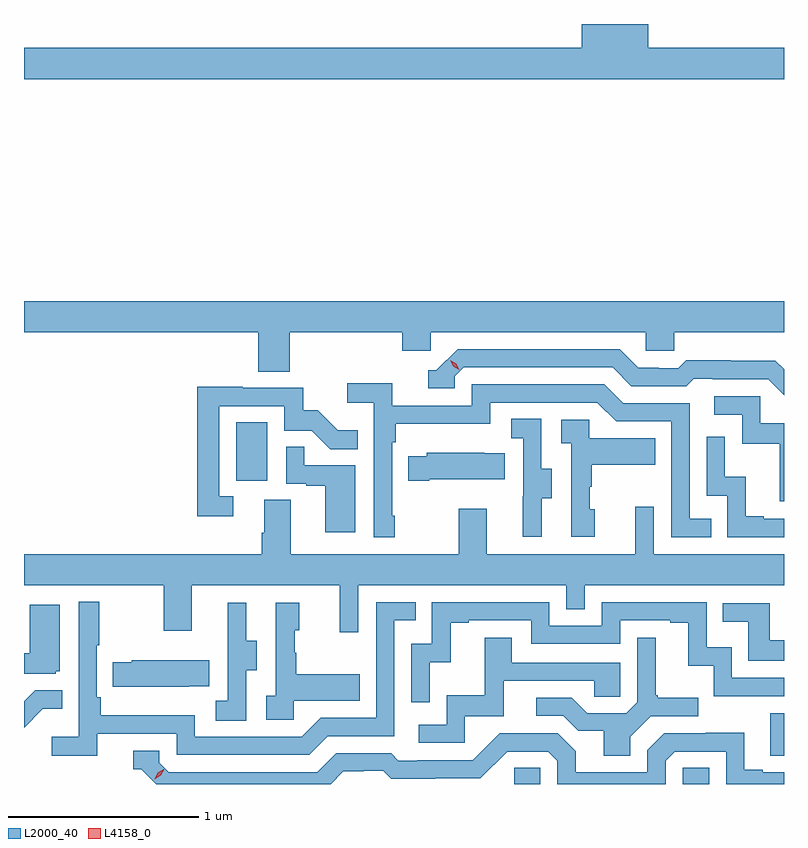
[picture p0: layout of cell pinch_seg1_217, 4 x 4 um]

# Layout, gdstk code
import gdstk
lib = gdstk.Library(unit=1e-6, precision=1e-09)
def R(c, l, rs):  # rectangles x0, y0, x1, y1
    for r in rs: c.add(gdstk.rectangle(r[:2], r[2:], *l))
def P(c, l, *ps):  # polygons
    for p in ps: c.add(gdstk.Polygon(p, *l))
L2000_40 = (2000, 40)
L4158_0 = (4158, 0)

pinch_seg1_217 = lib.new_cell('pinch_seg1_217')
R(pinch_seg1_217, L2000_40, [(1011.715,565.338,1011.852,565.424), (1012.602,565.338,1012.741,565.424), (1013.063,565.486,1013.135,565.71), (1010.252,566.934,1010.416,567.241)])
P(pinch_seg1_217, L2000_40, [(1013.135,569.212),(1012.42,569.212),(1012.42,569.338),(1012.07,569.338),(1012.07,569.212),(1009.135,569.212),(1009.135,569.048),(1013.135,569.048)],
  [(1010.534,567.716),(1011.125,567.716),(1011.125,567.618),(1011.276,567.618),(1011.276,567.716),(1012.407,567.716),(1012.407,567.618),(1012.557,567.618),(1012.557,567.716),(1013.135,567.716),(1013.135,567.88),(1009.135,567.88),(1009.135,567.716),(1010.369,567.716),(1010.369,567.508),(1010.534,567.508)],
  [(1013.135,567.52),(1013.09,567.565),(1012.854,567.565),(1012.854,567.568),(1012.621,567.568),(1012.579,567.525),(1012.476,567.525),(1012.476,567.528),(1012.369,567.528),(1012.27,567.627),(1011.417,567.627),(1011.306,567.516),(1011.263,567.516),(1011.263,567.42),(1011.402,567.42),(1011.402,567.483),(1011.45,567.531),(1012.233,567.531),(1012.332,567.432),(1012.621,567.432),(1012.66,567.471),(1012.759,567.471),(1012.759,567.468),(1013.052,567.468),(1013.135,567.385)],
  [(1011.085,566.749),(1011.072,566.749),(1011.072,567.137),(1011.092,567.137),(1011.092,567.233),(1011.588,567.233),(1011.588,567.345),(1012.152,567.345),(1012.251,567.246),(1012.542,567.246),(1012.542,566.637),(1012.751,566.637),(1012.751,566.733),(1012.638,566.733),(1012.638,567.342),(1012.288,567.342),(1012.189,567.441),(1011.492,567.441),(1011.492,567.33),(1011.074,567.33),(1011.074,567.446),(1010.835,567.446),(1010.835,567.344),(1010.976,567.344),(1010.976,566.637),(1011.085,566.637)],
  [(1010.236,566.853),(1010.163,566.853),(1010.163,567.327),(1010.505,567.327),(1010.505,567.198),(1010.649,567.198),(1010.747,567.1),(1010.891,567.1),(1010.891,567.199),(1010.787,567.199),(1010.68,567.306),(1010.604,567.306),(1010.604,567.423),(1010.285,567.423),(1010.285,567.428),(1010.047,567.428),(1010.047,566.748),(1010.236,566.748)],
  [(1013.135,567.237),(1013.01,567.237),(1013.01,567.378),(1012.767,567.378),(1012.767,567.282),(1012.914,567.282),(1012.914,567.129),(1013.113,567.129),(1013.113,566.826),(1013.135,566.826)],
  [(1011.859,566.842),(1011.913,566.842),(1011.913,566.997),(1011.858,566.997),(1011.858,567.26),(1011.699,567.26),(1011.699,567.157),(1011.762,567.157),(1011.762,566.853),(1011.761,566.853),(1011.761,566.64),(1011.859,566.64)],
  [(1012.138,566.784),(1012.113,566.784),(1012.113,566.903),(1012.123,566.903),(1012.123,567.017),(1012.457,567.017),(1012.457,567.157),(1012.11,567.157),(1012.11,567.255),(1011.963,567.255),(1011.963,567.131),(1012.014,567.131),(1012.014,566.64),(1012.138,566.64)],
  [(1013.135,566.733),(1013.029,566.733),(1013.029,566.746),(1012.934,566.746),(1012.934,566.954),(1012.824,566.954),(1012.824,567.166),(1012.728,567.166),(1012.728,566.856),(1012.836,566.856),(1012.836,566.637),(1013.135,566.637)],
  [(1010.878,567.015),(1010.609,567.015),(1010.609,567.113),(1010.514,567.113),(1010.514,566.919),(1010.621,566.919),(1010.621,566.907),(1010.72,566.907),(1010.72,566.664),(1010.878,566.664)],
  [(1011.268,566.942),(1011.665,566.942),(1011.665,567.079),(1011.557,567.079),(1011.557,567.082),(1011.255,567.082),(1011.255,567.064),(1011.157,567.064),(1011.157,566.935),(1011.268,566.935)],
  [(1010.895,566.384),(1011.99,566.384),(1011.99,566.257),(1012.086,566.257),(1012.086,566.384),(1013.135,566.384),(1013.135,566.548),(1012.449,566.548),(1012.449,566.797),(1012.352,566.797),(1012.352,566.548),(1011.571,566.548),(1011.571,566.788),(1011.424,566.788),(1011.424,566.548),(1010.539,566.548),(1010.539,566.834),(1010.399,566.834),(1010.399,566.66),(1010.387,566.66),(1010.387,566.548),(1009.135,566.548),(1009.135,566.384),(1009.87,566.384),(1009.87,566.145),(1010.017,566.145),(1010.017,566.384),(1010.798,566.384),(1010.798,566.136),(1010.895,566.136)],
  [(1009.52,565.602),(1009.938,565.602),(1009.938,565.491),(1010.635,565.491),(1010.734,565.59),(1011.084,565.59),(1011.084,566.199),(1011.197,566.199),(1011.197,566.295),(1010.988,566.295),(1010.988,565.686),(1010.697,565.686),(1010.598,565.587),(1010.034,565.587),(1010.034,565.699),(1009.538,565.699),(1009.538,565.795),(1009.518,565.795),(1009.518,566.068),(1009.531,566.068),(1009.531,566.296),(1009.422,566.296),(1009.422,565.588),(1009.281,565.588),(1009.281,565.486),(1009.52,565.486)],
  [(1011.27,565.979),(1011.38,565.979),(1011.38,566.187),(1011.475,566.187),(1011.475,566.199),(1011.804,566.199),(1011.804,566.076),(1012.272,566.076),(1012.272,566.199),(1012.535,566.199),(1012.535,566.187),(1012.631,566.187),(1012.631,565.961),(1012.764,565.961),(1012.764,565.8),(1013.135,565.8),(1013.135,565.896),(1012.86,565.896),(1012.86,566.059),(1012.728,566.059),(1012.728,566.295),(1012.176,566.295),(1012.176,566.172),(1011.9,566.172),(1011.9,566.295),(1011.282,566.295),(1011.282,566.076),(1011.174,566.076),(1011.174,565.767),(1011.27,565.767)],
  [(1010.304,565.936),(1010.359,565.936),(1010.359,566.091),(1010.305,566.091),(1010.305,566.293),(1010.207,566.293),(1010.207,566.079),(1010.208,566.079),(1010.208,565.775),(1010.145,565.775),(1010.145,565.672),(1010.304,565.672)],
  [(1010.556,565.775),(1010.903,565.775),(1010.903,565.915),(1010.569,565.915),(1010.569,566.03),(1010.559,566.03),(1010.559,566.148),(1010.584,566.148),(1010.584,566.293),(1010.46,566.293),(1010.46,565.802),(1010.409,565.802),(1010.409,565.677),(1010.556,565.677)],
  [(1013.135,566.095),(1013.059,566.095),(1013.059,566.289),(1012.813,566.289),(1012.813,566.192),(1012.948,566.192),(1012.948,565.986),(1013.135,565.986)],
  [(1009.302,565.932),(1009.324,565.932),(1009.324,566.281),(1009.166,566.281),(1009.166,566.026),(1009.135,566.026),(1009.135,565.917),(1009.302,565.917)],
  [(1012.327,565.588),(1012.434,565.695),(1012.684,565.695),(1012.684,565.792),(1012.471,565.792),(1012.471,565.804),(1012.459,565.804),(1012.459,566.107),(1012.362,566.107),(1012.362,565.767),(1012.305,565.71),(1012.099,565.71),(1012.018,565.791),(1011.831,565.791),(1011.831,565.698),(1011.972,565.698),(1012.052,565.618),(1012.187,565.618),(1012.187,565.486),(1012.327,565.486)],
  [(1011.456,565.695),(1011.661,565.695),(1011.661,565.881),(1012.135,565.881),(1012.135,565.797),(1012.272,565.797),(1012.272,565.977),(1011.703,565.977),(1011.703,566.107),(1011.559,566.107),(1011.559,565.804),(1011.36,565.804),(1011.36,565.65),(1011.213,565.65),(1011.213,565.554),(1011.456,565.554)],
  [(1010.003,565.853),(1010.111,565.853),(1010.111,565.99),(1009.701,565.99),(1009.701,565.98),(1009.603,565.98),(1009.603,565.85),(1010.003,565.85)],
  [(1009.233,565.733),(1009.337,565.733),(1009.337,565.832),(1009.193,565.832),(1009.135,565.774),(1009.135,565.635)],
  [(1010.815,565.404),(1010.922,565.404),(1010.922,565.407),(1011.025,565.407),(1011.067,565.365),(1011.3,565.365),(1011.3,565.367),(1011.536,565.367),(1011.678,565.509),(1011.894,565.509),(1011.942,565.461),(1011.942,565.338),(1012.512,565.338),(1012.512,565.461),(1012.56,565.509),(1012.83,565.509),(1012.83,565.338),(1013.135,565.338),(1013.135,565.401),(1013.023,565.401),(1013.023,565.414),(1012.927,565.414),(1012.927,565.607),(1012.722,565.607),(1012.722,565.605),(1012.506,565.605),(1012.416,565.515),(1012.416,565.401),(1012.039,565.401),(1012.039,565.511),(1011.945,565.605),(1011.639,565.605),(1011.498,565.464),(1011.205,565.464),(1011.205,565.461),(1011.106,565.461),(1011.067,565.5),(1010.778,565.5),(1010.679,565.401),(1009.896,565.401),(1009.848,565.449),(1009.848,565.512),(1009.709,565.512),(1009.709,565.416),(1009.752,565.416),(1009.83,565.338),(1010.749,565.338)])
P(pinch_seg1_217, L4158_0, [(1009.824,565.364),(1009.824,565.364),(1009.84,565.396),(1009.871,565.415),(1009.872,565.415),(1009.872,565.415),(1009.855,565.383),(1009.824,565.364)],
  [(1011.426,567.518),(1011.395,567.536),(1011.378,567.568),(1011.378,567.569),(1011.379,567.569),(1011.41,567.55),(1011.427,567.518),(1011.427,567.518)])

lib.write_gds('pinch_seg1_217.gds')
